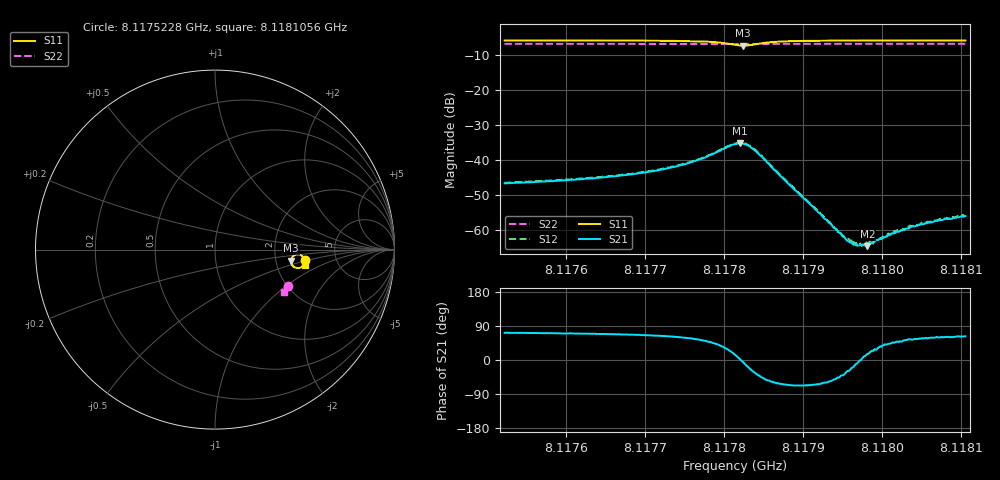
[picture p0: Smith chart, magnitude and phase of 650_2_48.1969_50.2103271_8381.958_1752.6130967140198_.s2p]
#  HZ  S  RI  R  50.00
! Rohde & Schwarz Vector Network Analyzer
! Rohde-Schwarz,ZNB20-2Port,1311601062101988,3.16
! Created: UTC 3/20/2024, 12:05:11 PM
! freq[Hz]  re:S11  im:S11  re:S21  im:S21  re:S12  im:S12  re:S22  im:S22
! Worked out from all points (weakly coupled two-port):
!   401 points, 8.1175228 GHz to 8.1181056 GHz, reference 50 ohm
!   highest |S21| = -35.22 dB at 8.11782 GHz (marker M1); lowest = -64.5 dB at 8.1179817 GHz (marker M2)
!   lowest |S11| = -7.4 dB at 8.1178244 GHz (marker M3), VSWR 2.49, Z = 121 - j18.4 ohm
!   |S11| at or under -10 dB: nowhere
!   |S22| runs from -6.9 to -6.9 dB; largest |S21 - S12| = 0.00058
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8.11752279e9  0.5036 -0.0566  0.00148 0.00444  0.00151 0.00457  0.4046 -0.2028
8.11762041e9  0.5016 -0.0671  0.00187 0.00502  0.00194 0.00514  0.4018 -0.2091
8.1176816e9  0.4988 -0.0754  0.00245 0.00574  0.00251 0.00584  0.3998 -0.2132
8.11771803e9  0.4957 -0.0821  0.00316 0.00648  0.00326 0.00662  0.3986 -0.2155
8.11776611e9  0.4845 -0.0953  0.00578 0.00818  0.00588 0.00824  0.3965 -0.2188
8.11781419e9  0.4307 -0.0877  0.0163 0.00397  0.0168 0.00411  0.3929 -0.2207
8.11782002e9  0.4243 -0.074  0.0173 0.000954  0.0176 0.000985  0.3925 -0.2204
8.11782439e9  0.4232 -0.0619  0.017 -0.00166  0.0174 -0.00167  0.3925 -0.2201
8.11783168e9  0.4303 -0.0427  0.015 -0.00554  0.0153 -0.00569  0.3931 -0.2197
8.11784187e9  0.4503 -0.0284  0.0102 -0.00793  0.0106 -0.0082  0.3937 -0.2199
8.1178681e9  0.4853 -0.0355  0.00315 -0.00571  0.00323 -0.00591  0.3942 -0.2223
8.11791181e9  0.4982 -0.0546  0.000898 -0.00202  0.000914 -0.00211  0.393 -0.2258
8.11795261e9  0.5002 -0.0646  0.000636 -0.000489  0.000648 -0.000464  0.3918 -0.2288
8.11796572e9  0.5004 -0.0671  0.00061 -0.000146  0.00063 -0.000164  0.3914 -0.2296
8.11797592e9  0.5005 -0.0688  0.000613 6.56e-05  0.000633 5.25e-05  0.3911 -0.2303
8.11798175e9  0.5005 -0.0698  0.00057 0.000168  0.000635 0.000156  0.3908 -0.2307
8.11798903e9  0.5005 -0.0709  0.000624 0.000278  0.00059 0.000264  0.3906 -0.2312
8.1179934e9  0.5004 -0.0715  0.00065 0.000335  0.000651 0.000403  0.3904 -0.2315
8.11800943e9  0.5005 -0.0737  0.00062 0.000581  0.000643 0.000592  0.39 -0.2324
8.1180342e9  0.5003 -0.077  0.000619 0.000862  0.00068 0.000917  0.3889 -0.2341
8.11807062e9  0.4998 -0.0812  0.000673 0.00119  0.00071 0.00119  0.3878 -0.2363
8.11810559e9  0.4995 -0.0848  0.000739 0.00142  0.000787 0.00142  0.3867 -0.2385
